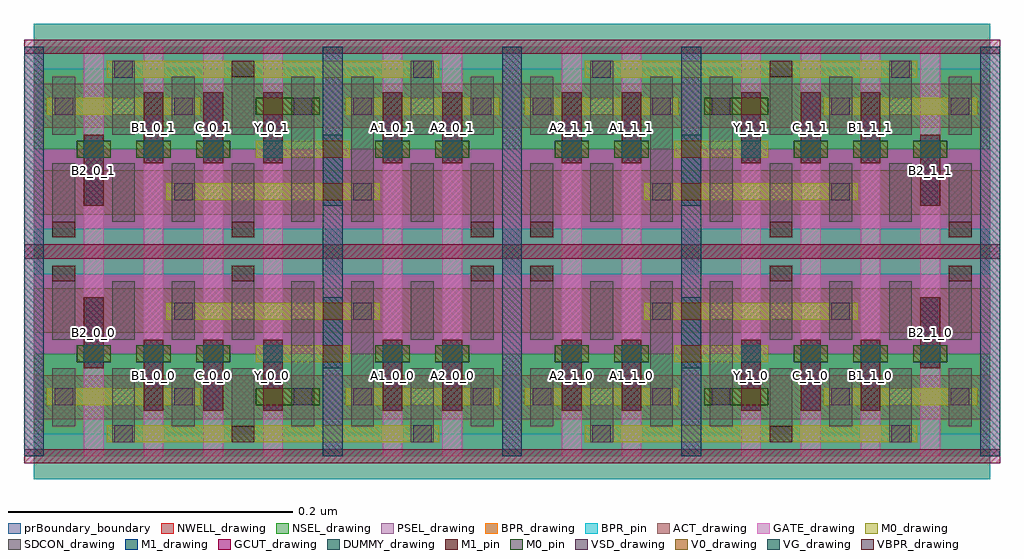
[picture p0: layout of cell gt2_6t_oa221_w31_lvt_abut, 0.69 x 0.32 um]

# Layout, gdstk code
from math import pi, radians
import gdstk
lib = gdstk.Library(unit=1e-6, precision=5e-10)
def R(c, l, rs):  # rectangles x0, y0, x1, y1
    for r in rs: c.add(gdstk.rectangle(r[:2], r[2:], *l))
def A(c, l, x, y, w, h, nx, ny, dx, dy):  # array of equal rectangles
    R(c, l, [(x+i*dx, y+j*dy, x+i*dx+w, y+j*dy+h) for i in range(nx) for j in range(ny)])
NWELL_drawing = (1, 0)
ACT_drawing = (2, 0)
GATE_drawing = (3, 0)
DUMMY_drawing = (4, 0)
GCUT_drawing = (5, 0)
NSEL_drawing = (6, 0)
PSEL_drawing = (7, 0)
BPR_drawing = (8, 0)
BPR_pin = (8, 251)
VBPR_drawing = (9, 0)
SDCON_drawing = (10, 0)
VSD_drawing = (11, 0)
VG_drawing = (12, 0)
M0_drawing = (20, 0)
M0_pin = (20, 251)
V0_drawing = (22, 0)
M1_drawing = (25, 0)
M1_pin = (25, 251)
prBoundary_boundary = (235, 250)

gt2_6t_oa221_w31_lvt = lib.new_cell('gt2_6t_oa221_w31_lvt')
R(gt2_6t_oa221_w31_lvt, NWELL_drawing, [(0,0.072,0.336,0.144)])
R(gt2_6t_oa221_w31_lvt, ACT_drawing, [(0,0.026,0.336,0.057), (0,0.087,0.336,0.118)])
A(gt2_6t_oa221_w31_lvt, GATE_drawing, -0.007, 0, 0.014, 0.144, 9, 1, 0.042, 0)
R(gt2_6t_oa221_w31_lvt, DUMMY_drawing, [(-0.007,0,0.007,0.072), (0.203,0,0.217,0.072), (0.329,0,0.343,0.072), (-0.007,0.072,0.007,0.144), (0.203,0.072,0.217,0.144), (0.329,0.072,0.343,0.144)])
R(gt2_6t_oa221_w31_lvt, GCUT_drawing, [(-0.007,-0.005,0.343,0.005), (-0.007,0.139,0.343,0.149)])
R(gt2_6t_oa221_w31_lvt, NSEL_drawing, [(0,0,0.336,0.072)])
R(gt2_6t_oa221_w31_lvt, PSEL_drawing, [(0,0.072,0.336,0.144)])
R(gt2_6t_oa221_w31_lvt, BPR_drawing, [(0,-0.016,0.336,0.016), (0,0.128,0.336,0.16)])
R(gt2_6t_oa221_w31_lvt, BPR_pin, [(0,-0.016,0.336,0.016), (0,0.128,0.336,0.16)])
R(gt2_6t_oa221_w31_lvt, VBPR_drawing, [(0.139,0.01,0.155,0.021), (0.013,0.123,0.029,0.134), (0.139,0.123,0.155,0.134), (0.307,0.123,0.323,0.134)])
R(gt2_6t_oa221_w31_lvt, SDCON_drawing, [(0.055,0.01,0.071,0.062), (0.139,0.01,0.155,0.062), (0.265,0.01,0.281,0.062), (0.013,0.021,0.029,0.062), (0.097,0.021,0.113,0.062), (0.181,0.021,0.197,0.123), (0.223,0.021,0.239,0.123), (0.307,0.021,0.323,0.062), (0.013,0.082,0.029,0.134), (0.055,0.082,0.071,0.123), (0.097,0.082,0.113,0.123), (0.139,0.082,0.155,0.134), (0.265,0.082,0.281,0.123), (0.307,0.082,0.323,0.134)])
A(gt2_6t_oa221_w31_lvt, VSD_drawing, 0.0145, 0.036, 0.013, 0.012, 3, 1, 0.084, 0)
R(gt2_6t_oa221_w31_lvt, VSD_drawing, [(0.0565,0.01,0.0695,0.022), (0.2665,0.01,0.2795,0.022), (0.2245,0.036,0.2375,0.048), (0.3085,0.036,0.3215,0.048), (0.0985,0.096,0.1115,0.108), (0.2245,0.096,0.2375,0.108)])
A(gt2_6t_oa221_w31_lvt, VG_drawing, 0.035, 0.066, 0.014, 0.012, 4, 1, 0.042, 0)
R(gt2_6t_oa221_w31_lvt, VG_drawing, [(0.245,0.066,0.259,0.078), (0.287,0.066,0.301,0.078)])
A(gt2_6t_oa221_w31_lvt, M0_drawing, 0.114, 0.066, 0.024, 0.012, 4, 1, 0.042, 0)
R(gt2_6t_oa221_w31_lvt, M0_drawing, [(0.051,0.01,0.075,0.022), (0.051,0.01,0.285,0.022), (0.261,0.01,0.285,0.022), (0.009,0.036,0.033,0.048), (0.009,0.036,0.117,0.048), (0.093,0.036,0.117,0.048), (0.156,0.036,0.18,0.048), (0.156,0.036,0.201,0.048), (0.177,0.036,0.201,0.048), (0.219,0.036,0.243,0.048), (0.219,0.036,0.327,0.048), (0.303,0.036,0.327,0.048), (0.03,0.066,0.054,0.078), (0.03,0.066,0.054,0.078), (0.072,0.066,0.096,0.078), (0.072,0.066,0.096,0.078), (0.114,0.066,0.138,0.078), (0.156,0.066,0.222,0.078), (0.24,0.066,0.264,0.078), (0.282,0.066,0.306,0.078), (0.282,0.066,0.306,0.078), (0.093,0.096,0.117,0.108), (0.093,0.096,0.243,0.108), (0.198,0.096,0.222,0.108), (0.219,0.096,0.243,0.108)])
R(gt2_6t_oa221_w31_lvt, M0_pin, [(0.156,0.036,0.18,0.048), (0.156,0.036,0.201,0.048), (0.177,0.036,0.201,0.048), (0.03,0.066,0.054,0.078), (0.03,0.066,0.054,0.078), (0.072,0.066,0.096,0.078), (0.072,0.066,0.096,0.078), (0.114,0.066,0.138,0.078), (0.114,0.066,0.138,0.078), (0.24,0.066,0.264,0.078), (0.24,0.066,0.264,0.078), (0.282,0.066,0.306,0.078), (0.282,0.066,0.306,0.078)])
A(gt2_6t_oa221_w31_lvt, V0_drawing, 0.035, 0.066, 0.014, 0.012, 3, 1, 0.042, 0)
A(gt2_6t_oa221_w31_lvt, V0_drawing, 0.203, 0.066, 0.014, 0.012, 3, 1, 0.042, 0)
R(gt2_6t_oa221_w31_lvt, V0_drawing, [(0.161,0.036,0.175,0.048), (0.203,0.096,0.217,0.108)])
A(gt2_6t_oa221_w31_lvt, M1_drawing, 0.077, 0.032, 0.014, 0.05, 3, 1, 0.042, 0)
A(gt2_6t_oa221_w31_lvt, M1_drawing, 0.035, 0.062, 0.014, 0.02, 3, 1, 0.042, 0)
A(gt2_6t_oa221_w31_lvt, M1_drawing, 0.203, 0.062, 0.014, 0.02, 3, 1, 0.042, 0)
R(gt2_6t_oa221_w31_lvt, M1_drawing, [(0.161,0.032,0.175,0.052), (0.245,0.032,0.259,0.082), (0.287,0.032,0.301,0.082), (0.035,0.062,0.049,0.112), (0.203,0.062,0.217,0.112), (0.203,0.092,0.217,0.112)])
A(gt2_6t_oa221_w31_lvt, M1_pin, 0.077, 0.032, 0.014, 0.05, 3, 1, 0.042, 0)
A(gt2_6t_oa221_w31_lvt, M1_pin, 0.035, 0.062, 0.014, 0.02, 3, 1, 0.042, 0)
R(gt2_6t_oa221_w31_lvt, M1_pin, [(0.161,0.032,0.175,0.052), (0.245,0.032,0.259,0.082), (0.287,0.032,0.301,0.082), (0.035,0.062,0.049,0.112), (0.245,0.062,0.259,0.082), (0.287,0.062,0.301,0.082)])
R(gt2_6t_oa221_w31_lvt, prBoundary_boundary, [(0,0,0.336,0.144)])
gt2_6t_oa221_w31_lvt.add(gdstk.Label('vss', (0.168,0), layer=8, texttype=251))
gt2_6t_oa221_w31_lvt.add(gdstk.Label('vdd', (0.168,0.144), layer=8, texttype=251))
gt2_6t_oa221_w31_lvt.add(gdstk.Label('Y', (0.189,0.042), layer=20, texttype=251))
gt2_6t_oa221_w31_lvt.add(gdstk.Label('B2', (0.042,0.072), layer=20, texttype=251))
gt2_6t_oa221_w31_lvt.add(gdstk.Label('B1', (0.084,0.072), layer=20, texttype=251))
gt2_6t_oa221_w31_lvt.add(gdstk.Label('C', (0.126,0.072), layer=20, texttype=251))
gt2_6t_oa221_w31_lvt.add(gdstk.Label('A1', (0.252,0.072), layer=20, texttype=251))
gt2_6t_oa221_w31_lvt.add(gdstk.Label('A2', (0.294,0.072), layer=20, texttype=251))
gt2_6t_oa221_w31_lvt.add(gdstk.Label('Y', (0.1785,0.042), layer=20, texttype=251))
gt2_6t_oa221_w31_lvt.add(gdstk.Label('Y', (0.168,0.042), layer=20, texttype=251))
gt2_6t_oa221_w31_lvt.add(gdstk.Label('B2', (0.042,0.072), layer=20, texttype=251))
gt2_6t_oa221_w31_lvt.add(gdstk.Label('B1', (0.084,0.072), layer=20, texttype=251))
gt2_6t_oa221_w31_lvt.add(gdstk.Label('C', (0.126,0.072), layer=20, texttype=251))
gt2_6t_oa221_w31_lvt.add(gdstk.Label('A1', (0.252,0.072), layer=20, texttype=251))
gt2_6t_oa221_w31_lvt.add(gdstk.Label('A2', (0.294,0.072), layer=20, texttype=251))
gt2_6t_oa221_w31_lvt.add(gdstk.Label('Y', (0.168,0.042), layer=25, texttype=251))
gt2_6t_oa221_w31_lvt.add(gdstk.Label('B2', (0.042,0.072), layer=25, texttype=251))
gt2_6t_oa221_w31_lvt.add(gdstk.Label('B1', (0.084,0.072), layer=25, texttype=251))
gt2_6t_oa221_w31_lvt.add(gdstk.Label('C', (0.126,0.072), layer=25, texttype=251))
gt2_6t_oa221_w31_lvt.add(gdstk.Label('A1', (0.252,0.072), layer=25, texttype=251))
gt2_6t_oa221_w31_lvt.add(gdstk.Label('A2', (0.294,0.072), layer=25, texttype=251))
gt2_6t_oa221_w31_lvt.add(gdstk.Label('B1', (0.084,0.057), layer=25, texttype=251))
gt2_6t_oa221_w31_lvt.add(gdstk.Label('C', (0.126,0.057), layer=25, texttype=251))
gt2_6t_oa221_w31_lvt.add(gdstk.Label('Y', (0.168,0.057), layer=25, texttype=251))
gt2_6t_oa221_w31_lvt.add(gdstk.Label('A1', (0.252,0.057), layer=25, texttype=251))
gt2_6t_oa221_w31_lvt.add(gdstk.Label('A2', (0.294,0.057), layer=25, texttype=251))
gt2_6t_oa221_w31_lvt.add(gdstk.Label('B2', (0.042,0.087), layer=25, texttype=251))

gt2_6t_oa221_w31_lvt_abu = lib.new_cell('gt2_6t_oa221_w31_lvt_abut')
gt2_6t_oa221_w31_lvt_abu.add(gdstk.Reference(gt2_6t_oa221_w31_lvt, (0,0)))
gt2_6t_oa221_w31_lvt_abu.add(gdstk.Reference(gt2_6t_oa221_w31_lvt, (0.672,0), rotation=pi, x_reflection=True))
gt2_6t_oa221_w31_lvt_abu.add(gdstk.Reference(gt2_6t_oa221_w31_lvt, (0,0.288), x_reflection=True))
gt2_6t_oa221_w31_lvt_abu.add(gdstk.Reference(gt2_6t_oa221_w31_lvt, (0.672,0.288), rotation=pi))
gt2_6t_oa221_w31_lvt_abu.add(gdstk.Label('A1_0_0', (0.252,0.057), layer=25, texttype=251))
gt2_6t_oa221_w31_lvt_abu.add(gdstk.Label('A2_0_0', (0.294,0.057), layer=25, texttype=251))
gt2_6t_oa221_w31_lvt_abu.add(gdstk.Label('B1_0_0', (0.084,0.057), layer=25, texttype=251))
gt2_6t_oa221_w31_lvt_abu.add(gdstk.Label('B2_0_0', (0.042,0.087), layer=25, texttype=251))
gt2_6t_oa221_w31_lvt_abu.add(gdstk.Label('C_0_0', (0.126,0.057), layer=25, texttype=251))
gt2_6t_oa221_w31_lvt_abu.add(gdstk.Label('Y_0_0', (0.168,0.057), layer=25, texttype=251))
gt2_6t_oa221_w31_lvt_abu.add(gdstk.Label('A1_1_0', (0.42,0.057), layer=25, texttype=251))
gt2_6t_oa221_w31_lvt_abu.add(gdstk.Label('A2_1_0', (0.378,0.057), layer=25, texttype=251))
gt2_6t_oa221_w31_lvt_abu.add(gdstk.Label('B1_1_0', (0.588,0.057), layer=25, texttype=251))
gt2_6t_oa221_w31_lvt_abu.add(gdstk.Label('B2_1_0', (0.63,0.087), layer=25, texttype=251))
gt2_6t_oa221_w31_lvt_abu.add(gdstk.Label('C_1_0', (0.546,0.057), layer=25, texttype=251))
gt2_6t_oa221_w31_lvt_abu.add(gdstk.Label('Y_1_0', (0.504,0.057), layer=25, texttype=251))
gt2_6t_oa221_w31_lvt_abu.add(gdstk.Label('A1_0_1', (0.252,0.231), layer=25, texttype=251))
gt2_6t_oa221_w31_lvt_abu.add(gdstk.Label('A2_0_1', (0.294,0.231), layer=25, texttype=251))
gt2_6t_oa221_w31_lvt_abu.add(gdstk.Label('B1_0_1', (0.084,0.231), layer=25, texttype=251))
gt2_6t_oa221_w31_lvt_abu.add(gdstk.Label('B2_0_1', (0.042,0.201), layer=25, texttype=251))
gt2_6t_oa221_w31_lvt_abu.add(gdstk.Label('C_0_1', (0.126,0.231), layer=25, texttype=251))
gt2_6t_oa221_w31_lvt_abu.add(gdstk.Label('Y_0_1', (0.168,0.231), layer=25, texttype=251))
gt2_6t_oa221_w31_lvt_abu.add(gdstk.Label('A1_1_1', (0.42,0.231), layer=25, texttype=251))
gt2_6t_oa221_w31_lvt_abu.add(gdstk.Label('A2_1_1', (0.378,0.231), layer=25, texttype=251))
gt2_6t_oa221_w31_lvt_abu.add(gdstk.Label('B1_1_1', (0.588,0.231), layer=25, texttype=251))
gt2_6t_oa221_w31_lvt_abu.add(gdstk.Label('B2_1_1', (0.63,0.201), layer=25, texttype=251))
gt2_6t_oa221_w31_lvt_abu.add(gdstk.Label('C_1_1', (0.546,0.231), layer=25, texttype=251))
gt2_6t_oa221_w31_lvt_abu.add(gdstk.Label('Y_1_1', (0.504,0.231), layer=25, texttype=251))

lib.write_gds('gt2_6t_oa221_w31_lvt_abut.gds')
